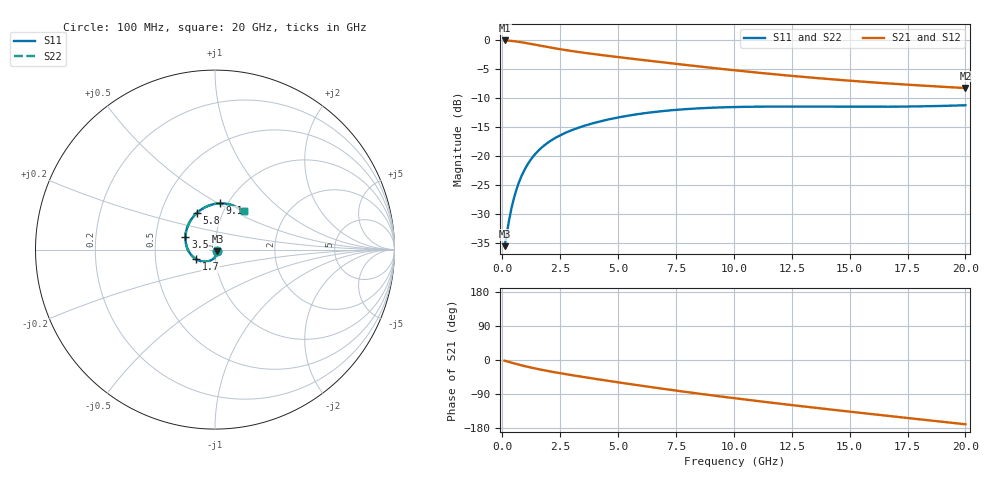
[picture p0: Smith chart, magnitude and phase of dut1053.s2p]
! Touchstone file exported from HFSS 2024.1.0
!  File:  C:/UserFiles/LocalFiles/RDL_TSV_Batchsim/temp_RDL_TSV_1053_1780089341.aedt
!  Generated:  05:27:48 AM May 30, 2026
!  Design:  RDL_TSV
!  Project:  temp_RDL_TSV_1053_1780089341
!  Setup:  Setup1
!  Solution:  Sweep
! Variables:
!  dtsv = 14.59um
!  hbump = 3um
!  htsv = 98.1um
!  ldown = 126.47um
!  lrdl = 365.63um
!  p = 40
!  p1 = 46.9um
!  rhole = 10um
!  subl = 1841.93um
!  t = 450um
!  tdown = 2.8um
!  trdl = 2.19um
!  viad = 10um
!  wdown = 12.22um
!  wrdl = 23.61um
!  xbump = 18um
# GHz S MA R 50.000000
! Terminal data exported
! Port[1] = TM1_1_T1
! Port[2] = TM1_4_T1
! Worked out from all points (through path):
!   200 points, 100 MHz to 20 GHz, reference 50 ohm
!   highest |S21| = -0.13 dB at 100 MHz (marker M1); lowest = -8.3 dB at 20 GHz (marker M2)
!   group delay of S21, straight-line fit = 22.1 ps
!   lowest |S11| = -35.6 dB at 100 MHz (marker M3), VSWR 1.03, Z = 51.4 - j0.928 ohm
!   |S11| at or under -10 dB: start of sweep to end of sweep
!   |S22| runs from -35.6 to -11.3 dB; largest |S21 - S12| = 2.5e-14
!   S11 on the Smith chart (normalised r, x): 100 MHz: 1.03, -0.02; 1.7 GHz: 0.81, -0.09; 3.5 GHz: 0.71, +0.11; 5.8 GHz: 0.75, +0.32; 9.1 GHz: 0.92, +0.51; 20 GHz: 1.24, +0.58
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0.1  0.01656 -33.0  0.9848 -1.8  0.9848 -1.8  0.01656 -33.0
! Gamma 0 0 0 0
! Port Impedance 50 0 50 0
0.3  0.02821 -71.3  0.9797 -5.3  0.9797 -5.3  0.02821 -71.3
0.4  0.03537 -82.4  0.9756 -7.1  0.9756 -7.1  0.03537 -82.4
0.5  0.04274 -91.2  0.9707 -8.7  0.9707 -8.7  0.04274 -91.2
0.7  0.05743 -105.4  0.9589 -12.0  0.9589 -12.0  0.05743 -105.4
0.9  0.07144 -117.0  0.9452 -15.1  0.9452 -15.1  0.07144 -117.0
1.1  0.08446 -127.2  0.9301 -18.0  0.9301 -18.0  0.08447 -127.2
1.4  0.102 -140.6  0.9065 -22.1  0.9065 -22.1  0.102 -140.6
1.7  0.1173 -152.5  0.8831 -25.9  0.8831 -25.9  0.1174 -152.5
2.5  0.1497 -178.5  0.8273 -34.9  0.8273 -34.9  0.1498 -178.5
3.5  0.1798 156.5  0.7724 -44.9  0.7724 -44.9  0.1799 156.5
4.6  0.2054 135.2  0.7237 -55.2  0.7237 -55.2  0.2056 135.2
5.8  0.2271 117.0  0.6775 -66.1  0.6775 -66.1  0.2273 117.0
6.8  0.2408 104.7  0.6422 -74.8  0.6422 -74.8  0.241 104.7
7.9  0.2516 93.5  0.6061 -84.0  0.6061 -84.0  0.2519 93.5
9.1  0.2592 83.6  0.5701 -93.7  0.5701 -93.7  0.2594 83.6
10.1  0.2628 76.9  0.5428 -101.4  0.5428 -101.4  0.2631 76.9
11.7  0.265 68.5  0.5043 -113.2  0.5043 -113.2  0.2653 68.5
13.4  0.2647 62.2  0.47 -125.3  0.47 -125.3  0.265 62.2
15  0.2639 58.2  0.443 -136.3  0.443 -136.3  0.2642 58.2
16.7  0.2641 55.6  0.419 -147.7  0.419 -147.7  0.2644 55.6
20  0.2719 53.2  0.3828 -169.6  0.3828 -169.6  0.2722 53.1
